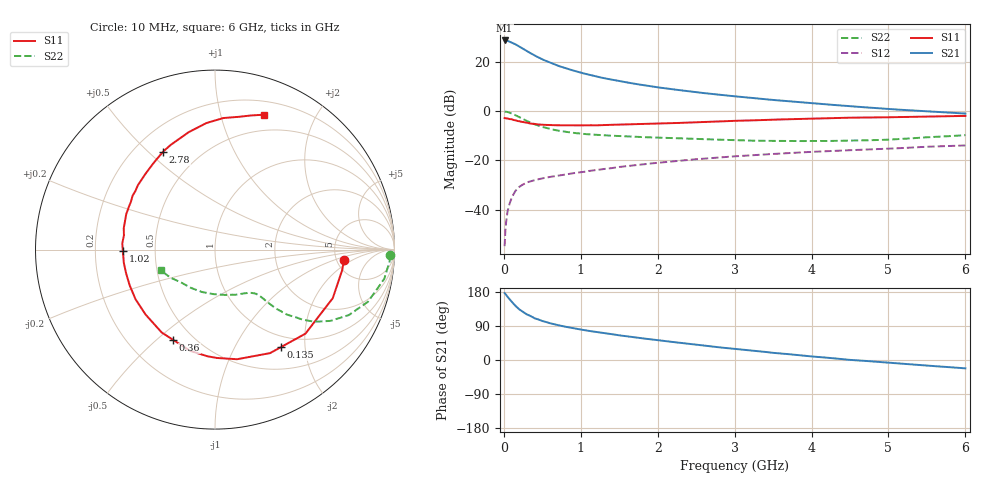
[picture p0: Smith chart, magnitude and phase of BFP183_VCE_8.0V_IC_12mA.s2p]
! Infineon Technologies  Discrete & RF Semiconductors
! BFP183
! VCE = 8.0 V,  IC =  12 mA
! Common Emitter S-Parameters:  Jan 2016
# GHz  S  MA  R  50
!  f  S11  S21  S12  S22
! GHz  MAG  ANG  MAG  ANG  MAG  ANG  MAG  ANG
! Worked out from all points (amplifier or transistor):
!   210 points, 10 MHz to 6 GHz, reference 50 ohm
!   highest |S21| = 28.7 dB at 10 MHz (marker M1)
!   |S21| within 3 dB of that: start of sweep to 227 MHz
!   unconditionally stable (mu >= 1): 1.166 GHz to 5.773 GHz
!   at 185 MHz: K = 0.27, MSG = 28.9 dB, |S12| = -31.3 dB
!   at 1.52 GHz: K = 1.07, MAG = 15.7 dB, |S12| = -22.6 dB
!   at 6 GHz: K = 0.96, MSG = 6.5 dB, |S12| = -14.0 dB
!   S11 on the Smith chart (normalised r, x): 10 MHz: 5.86, -1.36; 135 MHz: 0.82, -1.56; 360 MHz: 0.39, -0.57; 1.02 GHz: 0.32, -0.01; 2.78 GHz: 0.32, +0.55; 6 GHz: 0.33, +1.37
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0.01  0.7217 -4.4  27.24 176.7  0.0018 89.5  0.9781 -1.9
0.02  0.7179 -9.1  27.23 174.5  0.0037 85.3  0.9745 -4.0
0.05  0.7098 -22.4  26.81 166.1  0.0094 82.3  0.9572 -9.8
0.1  0.6879 -42.9  24.82 153.9  0.0171 69.1  0.9006 -18.8
0.135  0.6557 -56.1  23.31 146.3  0.0218 63.7  0.8497 -23.8
0.15  0.6532 -62.0  22.8 142.8  0.0238 62.1  0.83 -26.1
0.2  0.6231 -78.6  20.57 133.7  0.0288 56.9  0.7559 -31.7
0.26  0.5959 -94.0  17.9 125.2  0.033 52.0  0.6775 -36.2
0.3  0.581 -103.7  16.52 120.3  0.0356 49.9  0.63 -38.4
0.36  0.5544 -114.9  14.63 114.7  0.0379 47.1  0.5753 -40.5
0.4  0.5491 -122.7  13.47 110.1  0.0395 45.4  0.5394 -42.1
0.5  0.5296 -137.0  11.21 102.9  0.043 43.6  0.4765 -43.9
0.6  0.522 -148.1  9.666 97.0  0.046 43.0  0.4339 -44.7
0.8  0.5127 -165.0  7.457 87.7  0.0514 43.3  0.3798 -45.5
1.02  0.5134 -179.3  5.917 79.7  0.0576 43.9  0.3455 -46.6
1.5  0.5325 158.3  4.075 65.1  0.0732 44.7  0.3103 -50.7
2.02  0.5605 139.5  3.011 51.9  0.0897 43.4  0.2891 -58.3
2.78  0.6165 118.1  2.164 33.9  0.1135 39.2  0.2635 -73.8
3.1  0.6392 110.7  1.932 27.4  0.1232 37.1  0.2539 -81.7
4.1  0.7112 92.4  1.407 7.8  0.1508 29.8  0.2467 -110.1
5.1  0.7535 79.3  1.078 -8.5  0.175 23.3  0.2678 -138.3
6  0.7986 70.2  0.891 -22.1  0.2005 15.6  0.3239 -159.2
